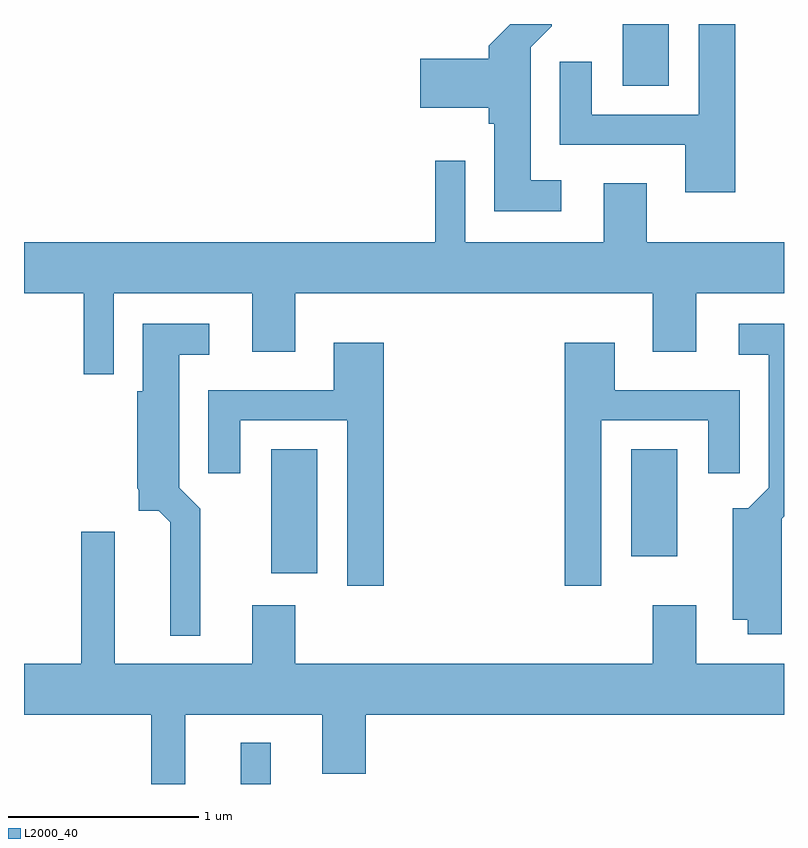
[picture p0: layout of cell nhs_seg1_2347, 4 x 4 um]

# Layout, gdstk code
import gdstk
lib = gdstk.Library(unit=1e-6, precision=1e-09)
def R(c, l, rs):  # rectangles x0, y0, x1, y1
    for r in rs: c.add(gdstk.rectangle(r[:2], r[2:], *l))
def P(c, l, *ps):  # polygons
    for p in ps: c.add(gdstk.Polygon(p, *l))
L2000_40 = (2000, 40)

nhs_seg1_2347 = lib.new_cell('nhs_seg1_2347')
R(nhs_seg1_2347, L2000_40, [(258.751,843.712,258.909,843.928), (258.911,844.821,259.154,845.474), (260.806,844.911,261.049,845.474), (260.761,847.386,261.004,847.712)])
P(nhs_seg1_2347, L2000_40, [(261.354,847.712),(261.161,847.712),(261.161,847.234),(260.599,847.234),(260.599,847.513),(260.431,847.513),(260.431,847.076),(261.091,847.076),(261.091,846.826),(261.354,846.826)],
  [(260.438,846.889),(260.279,846.889),(260.279,847.589),(260.389,847.699),(260.389,847.712),(260.171,847.712),(260.056,847.597),(260.056,847.529),(259.696,847.529),(259.696,847.271),(260.056,847.271),(260.056,847.186),(260.086,847.186),(260.086,846.726),(260.438,846.726)],
  [(258.084,846.296),(258.811,846.296),(258.811,845.986),(259.039,845.986),(259.039,846.296),(260.921,846.296),(260.921,845.986),(261.149,845.986),(261.149,846.296),(261.611,846.296),(261.611,846.564),(260.889,846.564),(260.889,846.874),(260.661,846.874),(260.661,846.564),(259.934,846.564),(259.934,846.993),(259.776,846.993),(259.776,846.564),(257.611,846.564),(257.611,846.296),(257.926,846.296),(257.926,845.868),(258.084,845.868)],
  [(261.599,845.109),(261.611,845.121),(261.611,846.134),(261.373,846.134),(261.373,845.971),(261.531,845.971),(261.531,845.272),(261.424,845.164),(261.341,845.164),(261.341,844.576),(261.421,844.576),(261.421,844.501),(261.599,844.501)],
  [(258.539,845.162),(258.429,845.272),(258.429,845.971),(258.587,845.971),(258.587,846.134),(258.236,846.134),(258.236,845.779),(258.206,845.779),(258.206,845.269),(258.216,845.259),(258.216,845.151),(258.319,845.151),(258.381,845.089),(258.381,844.493),(258.539,844.493)],
  [(260.649,845.626),(261.211,845.626),(261.211,845.348),(261.379,845.348),(261.379,845.784),(260.719,845.784),(260.719,846.034),(260.456,846.034),(260.456,844.756),(260.649,844.756)],
  [(259.504,846.034),(259.241,846.034),(259.241,845.784),(258.581,845.784),(258.581,845.348),(258.749,845.348),(258.749,845.626),(259.311,845.626),(259.311,844.756),(259.504,844.756)],
  [(258.459,844.076),(259.181,844.076),(259.181,843.766),(259.409,843.766),(259.409,844.076),(261.611,844.076),(261.611,844.344),(261.149,844.344),(261.149,844.654),(260.921,844.654),(260.921,844.344),(259.039,844.344),(259.039,844.654),(258.811,844.654),(258.811,844.344),(258.089,844.344),(258.089,845.039),(257.911,845.039),(257.911,844.344),(257.611,844.344),(257.611,844.076),(258.281,844.076),(258.281,843.712),(258.459,843.712)])

lib.write_gds('nhs_seg1_2347.gds')
